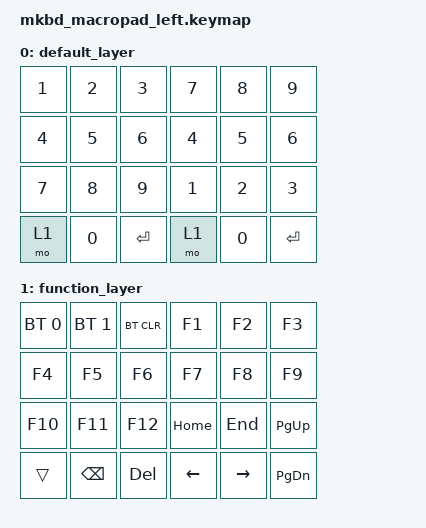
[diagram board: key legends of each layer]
#include <behaviors.dtsi>
#include <dt-bindings/zmk/keys.h>
#include <dt-bindings/zmk/bt.h>

/ {
    keymap {
        compatible = "zmk,keymap";

        default_layer {
            bindings = <
                &kp NUM_1    &kp NUM_2    &kp NUM_3    &kp NUM_7    &kp NUM_8    &kp NUM_9
                &kp NUM_4    &kp NUM_5    &kp NUM_6    &kp NUM_4    &kp NUM_5    &kp NUM_6
                &kp NUM_7    &kp NUM_8    &kp NUM_9    &kp NUM_1    &kp NUM_2    &kp NUM_3
                &mo 1        &kp NUM_0    &kp ENTER    &mo 1        &kp NUM_0    &kp ENTER
            >;
        };

        function_layer {
            bindings = <
                &bt BT_SEL 0  &bt BT_SEL 1  &bt BT_CLR   &kp F1       &kp F2       &kp F3
                &kp F4        &kp F5        &kp F6       &kp F7       &kp F8       &kp F9
                &kp F10       &kp F11       &kp F12      &kp HOME     &kp END      &kp PG_UP
                &trans        &kp BSPC      &kp DEL      &kp LEFT     &kp RIGHT    &kp PG_DN
            >;
        };
    };
};
